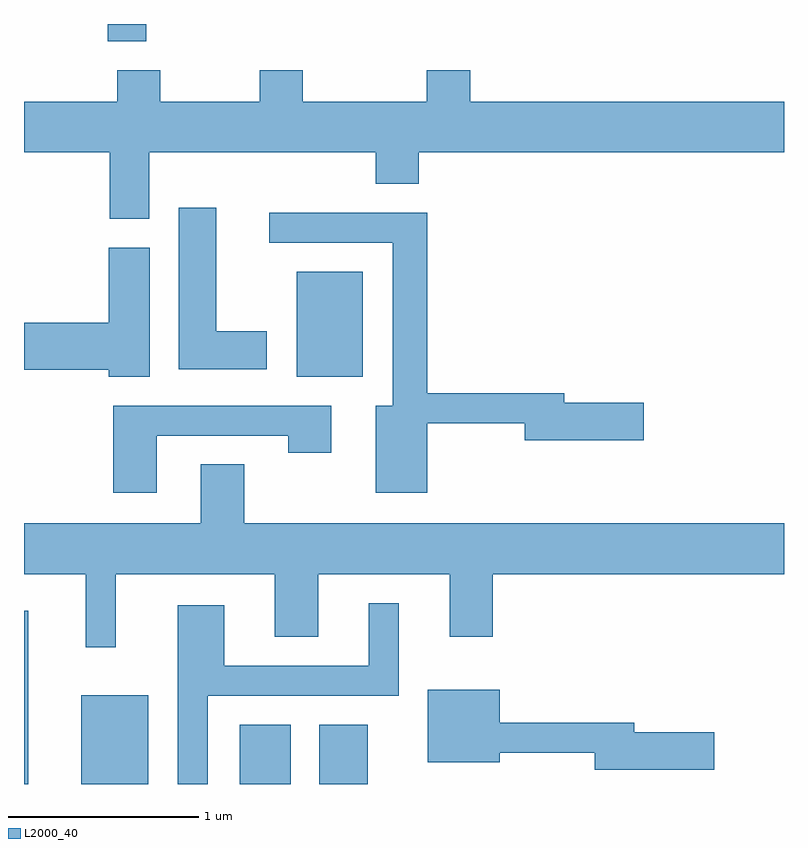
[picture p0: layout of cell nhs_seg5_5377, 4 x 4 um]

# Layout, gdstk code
import gdstk
lib = gdstk.Library(unit=1e-6, precision=1e-09)
def R(c, l, rs):  # rectangles x0, y0, x1, y1
    for r in rs: c.add(gdstk.rectangle(r[:2], r[2:], *l))
def P(c, l, *ps):  # polygons
    for p in ps: c.add(gdstk.Polygon(p, *l))
L2000_40 = (2000, 40)

nhs_seg5_5377 = lib.new_cell('nhs_seg5_5377')
R(nhs_seg5_5377, L2000_40, [(343.611,1520.072,343.634,1520.983), (343.911,1520.072,344.264,1520.539), (344.746,1520.072,345.014,1520.384), (345.166,1520.072,345.419,1520.384), (345.046,1522.216,345.394,1522.769), (344.051,1523.981,344.254,1524.072)])
P(nhs_seg5_5377, L2000_40, [(345.461,1523.231),(345.689,1523.231),(345.689,1523.396),(347.611,1523.396),(347.611,1523.664),(345.959,1523.664),(345.959,1523.829),(345.731,1523.829),(345.731,1523.664),(345.079,1523.664),(345.079,1523.829),(344.851,1523.829),(344.851,1523.664),(344.329,1523.664),(344.329,1523.829),(344.101,1523.829),(344.101,1523.664),(343.611,1523.664),(343.611,1523.396),(344.061,1523.396),(344.061,1523.046),(344.269,1523.046),(344.269,1523.396),(345.461,1523.396)],
  [(344.889,1522.454),(344.624,1522.454),(344.624,1523.104),(344.426,1523.104),(344.426,1522.256),(344.889,1522.256)],
  [(345.734,1521.971),(346.246,1521.971),(346.246,1521.881),(346.874,1521.881),(346.874,1522.079),(346.454,1522.079),(346.454,1522.129),(345.734,1522.129),(345.734,1523.079),(344.903,1523.079),(344.903,1522.921),(345.551,1522.921),(345.551,1522.064),(345.461,1522.064),(345.461,1521.606),(345.734,1521.606)],
  [(344.274,1522.894),(344.056,1522.894),(344.056,1522.499),(343.611,1522.499),(343.611,1522.251),(344.056,1522.251),(344.056,1522.216),(344.274,1522.216)],
  [(344.309,1521.906),(345.001,1521.906),(345.001,1521.816),(345.229,1521.816),(345.229,1522.064),(344.081,1522.064),(344.081,1521.606),(344.309,1521.606)],
  [(344.094,1521.176),(344.931,1521.176),(344.931,1520.846),(345.159,1520.846),(345.159,1521.176),(345.851,1521.176),(345.851,1520.846),(346.079,1520.846),(346.079,1521.176),(347.611,1521.176),(347.611,1521.444),(344.769,1521.444),(344.769,1521.754),(344.541,1521.754),(344.541,1521.444),(343.611,1521.444),(343.611,1521.176),(343.936,1521.176),(343.936,1520.793),(344.094,1520.793)],
  [(344.579,1520.536),(345.584,1520.536),(345.584,1521.023),(345.426,1521.023),(345.426,1520.694),(344.664,1520.694),(344.664,1521.014),(344.421,1521.014),(344.421,1520.072),(344.579,1520.072)],
  [(347.244,1520.344),(346.824,1520.344),(346.824,1520.394),(346.114,1520.394),(346.114,1520.569),(345.736,1520.569),(345.736,1520.186),(346.114,1520.186),(346.114,1520.236),(346.616,1520.236),(346.616,1520.146),(347.244,1520.146)])

lib.write_gds('nhs_seg5_5377.gds')
